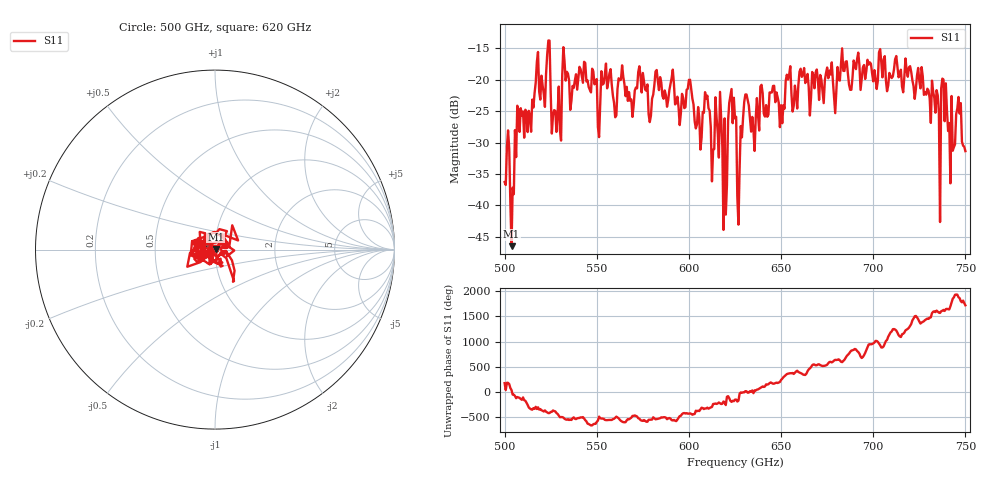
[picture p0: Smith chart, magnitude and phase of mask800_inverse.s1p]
!Created with skrf (http://scikit-rf.org).
# GHz S MA R 50.0
!freq magS11 angS11
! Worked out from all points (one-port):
!   401 points, 500 GHz to 750 GHz, reference 50 ohm
!   lowest |S11| = -46.5 dB at 503.8 GHz (marker M1), VSWR 1.01, Z = 50.4 + j0.294 ohm
!   |S11| at or under -10 dB: start of sweep to end of sweep
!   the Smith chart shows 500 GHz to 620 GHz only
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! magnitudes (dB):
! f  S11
! 500 GHz  -36.3
! 503.8 GHz  -46.5
! 508.1 GHz  -28.3
! 513.8 GHz  -25.8
! 517.5 GHz  -17.2
! 523.8 GHz  -13.8
! 526.9 GHz  -24.8
! 531.2 GHz  -19.4
! 562.5 GHz  -20.1
! 593.8 GHz  -22.7
! 610 GHz  -22.5
! 612.5 GHz  -36.2
! 616.2 GHz  -32.4
! 619.4 GHz  -26.2
! 622.5 GHz  -22.6
! 625 GHz  -26.2
! 627.5 GHz  -34.2
! 631.2 GHz  -22.4
! 635 GHz  -28.0
! 656.2 GHz  -25.1
! 687.5 GHz  -21.6
! 718.8 GHz  -19.5
! 733.1 GHz  -22.9
! 735 GHz  -22.5
! 738.1 GHz  -20.0
! 743.1 GHz  -31.3
! 746.2 GHz  -22.8
! 750 GHz  -31.4
